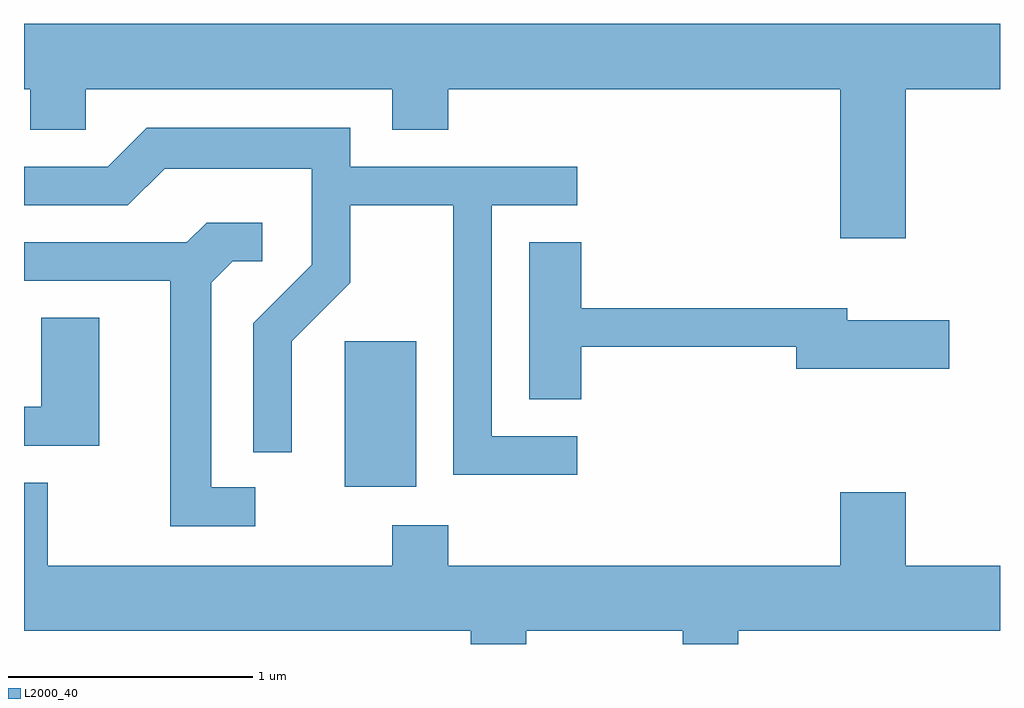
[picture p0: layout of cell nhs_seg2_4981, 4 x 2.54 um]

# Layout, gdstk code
import gdstk
lib = gdstk.Library(unit=1e-6, precision=1e-09)
def R(c, l, rs):  # rectangles x0, y0, x1, y1
    for r in rs: c.add(gdstk.rectangle(r[:2], r[2:], *l))
def P(c, l, *ps):  # polygons
    for p in ps: c.add(gdstk.Polygon(p, *l))
L2000_40 = (2000, 40)

nhs_seg2_4981 = lib.new_cell('nhs_seg2_4981')
R(nhs_seg2_4981, L2000_40, [(332.926,1064.446,333.219,1065.044)])
P(nhs_seg2_4981, L2000_40, [(335.224,1066.076),(335.611,1066.076),(335.611,1066.344),(331.611,1066.344),(331.611,1066.076),(331.636,1066.076),(331.636,1065.911),(331.864,1065.911),(331.864,1066.076),(333.121,1066.076),(333.121,1065.911),(333.349,1065.911),(333.349,1066.076),(334.956,1066.076),(334.956,1065.466),(335.224,1065.466)],
  [(333.878,1064.654),(333.529,1064.654),(333.529,1065.601),(333.878,1065.601),(333.878,1065.759),(332.949,1065.759),(332.949,1065.919),(332.114,1065.919),(331.954,1065.759),(331.611,1065.759),(331.611,1065.601),(332.037,1065.601),(332.187,1065.751),(332.791,1065.751),(332.791,1065.357),(332.551,1065.117),(332.551,1064.588),(332.709,1064.588),(332.709,1065.044),(332.949,1065.284),(332.949,1065.601),(333.371,1065.601),(333.371,1064.496),(333.878,1064.496)],
  [(332.558,1064.444),(332.379,1064.444),(332.379,1065.284),(332.467,1065.371),(332.588,1065.371),(332.588,1065.529),(332.359,1065.529),(332.279,1065.449),(331.611,1065.449),(331.611,1065.291),(332.211,1065.291),(332.211,1064.286),(332.558,1064.286)],
  [(333.894,1065.021),(334.776,1065.021),(334.776,1064.931),(335.404,1064.931),(335.404,1065.129),(334.984,1065.129),(334.984,1065.179),(333.894,1065.179),(333.894,1065.449),(333.681,1065.449),(333.681,1064.806),(333.894,1064.806)],
  [(331.919,1065.139),(331.681,1065.139),(331.681,1064.774),(331.611,1064.774),(331.611,1064.616),(331.919,1064.616)],
  [(333.669,1063.856),(334.311,1063.856),(334.311,1063.802),(334.539,1063.802),(334.539,1063.856),(335.611,1063.856),(335.611,1064.124),(335.224,1064.124),(335.224,1064.424),(334.956,1064.424),(334.956,1064.124),(333.349,1064.124),(333.349,1064.289),(333.121,1064.289),(333.121,1064.124),(331.709,1064.124),(331.709,1064.464),(331.611,1064.464),(331.611,1063.856),(333.441,1063.856),(333.441,1063.802),(333.669,1063.802)])

lib.write_gds('nhs_seg2_4981.gds')
